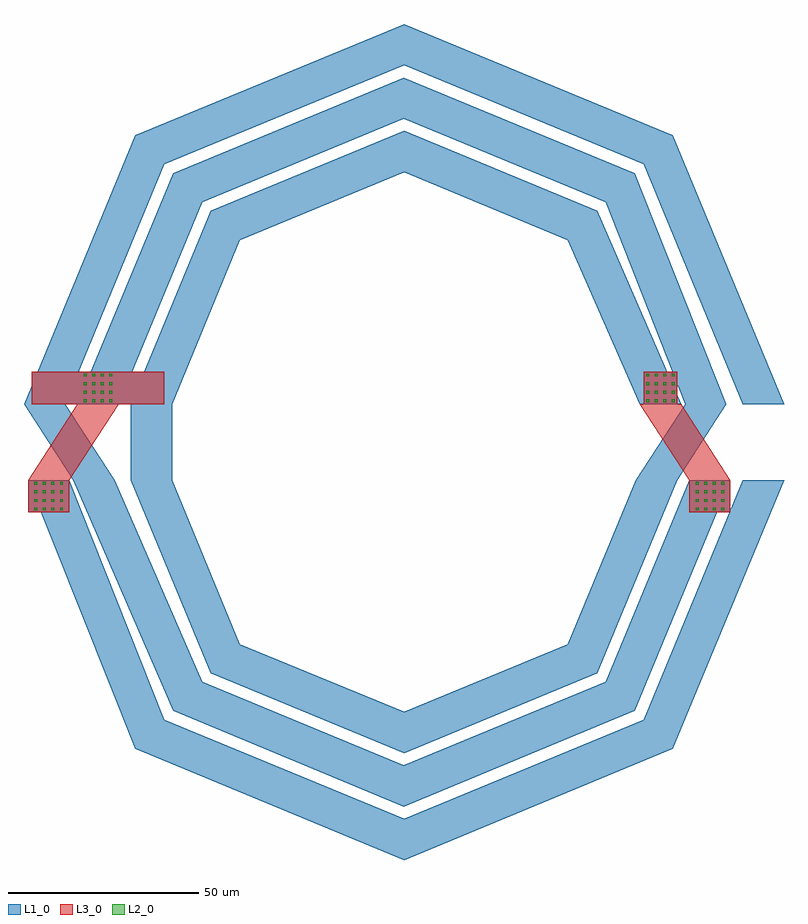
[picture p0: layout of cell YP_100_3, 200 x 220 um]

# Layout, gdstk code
import gdstk
lib = gdstk.Library(unit=1e-6, precision=1e-09)
def R(c, l, rs):  # rectangles x0, y0, x1, y1
    for r in rs: c.add(gdstk.rectangle(r[:2], r[2:], *l))
def A(c, l, x, y, w, h, nx, ny, dx, dy):  # array of equal rectangles
    R(c, l, [(x+i*dx, y+j*dy, x+i*dx+w, y+j*dy+h) for i in range(nx) for j in range(ny)])
def P(c, l, *ps):  # polygons
    for p in ps: c.add(gdstk.Polygon(p, *l))
L1_0 = (1, 0)
L2_0 = (2, 0)
L3_0 = (3, 0)

yp_100_3 = lib.new_cell('YP_100_3')
R(yp_100_3, L1_0, [(101.07,181.49,111.89,189.99), (275.1,181.49,285.92,189.99), (128.14,190,138.96,210), (102.025,209.995,136.935,218.485), (263.055,209.995,271.965,218.485)])
P(yp_100_3, L1_0, [(289.17,210),(263.05,273.05),(270.71,280.71),(300,210)],
  [(263.05,273.05),(200,299.17),(200,310),(270.71,280.71)],
  [(136.94,273.05),(129.28,280.71),(200,310),(200,299.17)],
  [(100,210),(129.28,280.71),(136.94,273.05),(110.82,210)],
  [(113,190),(100,210),(110.82,210),(123.82,190)],
  [(139.23,129.23),(113,190),(123.82,190),(146.89,136.89)],
  [(199.99,104.07),(139.23,129.23),(146.89,136.89),(199.99,114.89)],
  [(199.99,104.07),(199.99,114.89),(253.1,136.89),(260.76,129.23)],
  [(260.76,129.23),(253.1,136.89),(275.1,189.99),(285.92,189.99)],
  [(262.1,209.99),(243.15,253.15),(250.81,260.81),(272.92,209.99)],
  [(243.15,253.15),(200,271.03),(200,281.85),(250.81,260.81)],
  [(156.84,253.15),(149.18,260.81),(200,281.85),(200,271.03)],
  [(128.14,210),(149.18,260.81),(156.84,253.15),(138.96,210)],
  [(149.18,139.18),(128.14,190),(138.96,190),(156.84,146.84)],
  [(200,118.14),(149.18,139.18),(156.84,146.84),(200,128.96)],
  [(200,118.14),(200,128.96),(243.15,146.84),(250.81,139.18)],
  [(250.81,139.18),(243.15,146.84),(261.03,190),(271.85,190)],
  [(261.03,190),(274.03,210),(284.85,210),(271.85,190)],
  [(274.03,210),(253.1,263.1),(260.76,270.76),(284.85,210)],
  [(253.1,263.1),(199.99,285.1),(199.99,295.92),(260.76,270.76)],
  [(146.89,263.1),(139.23,270.76),(199.99,295.92),(199.99,285.1)],
  [(114.07,209.99),(139.23,270.76),(146.89,263.1),(124.89,209.99)],
  [(129.28,119.28),(101.07,189.99),(111.89,189.99),(136.94,126.94)],
  [(200,90),(129.28,119.28),(136.94,126.94),(200,100.82)],
  [(200,90),(200,100.82),(263.05,126.94),(270.71,119.28)],
  [(270.71,119.28),(263.05,126.94),(289.17,190),(300,190)])
A(yp_100_3, L2_0, 102.73, 181.99, 0.75, 0.75, 4, 4, 2.25, 2.25)
A(yp_100_3, L2_0, 276.76, 181.99, 0.75, 0.75, 4, 4, 2.25, 2.25)
A(yp_100_3, L2_0, 115.73, 210.49, 0.75, 0.75, 4, 4, 2.25, 2.25)
A(yp_100_3, L2_0, 263.76, 210.49, 0.75, 0.75, 4, 4, 2.25, 2.25)
R(yp_100_3, L3_0, [(101.07,181.49,111.89,189.99), (275.1,181.49,285.92,189.99), (102.025,209.995,136.935,218.485), (263.055,209.995,271.965,218.485)])
P(yp_100_3, L3_0, [(275.1,189.99),(262.1,209.99),(272.92,209.99),(285.92,189.99)],
  [(101.07,189.99),(114.07,209.99),(124.89,209.99),(111.89,189.99)])

lib.write_gds('YP_100_3.gds')
